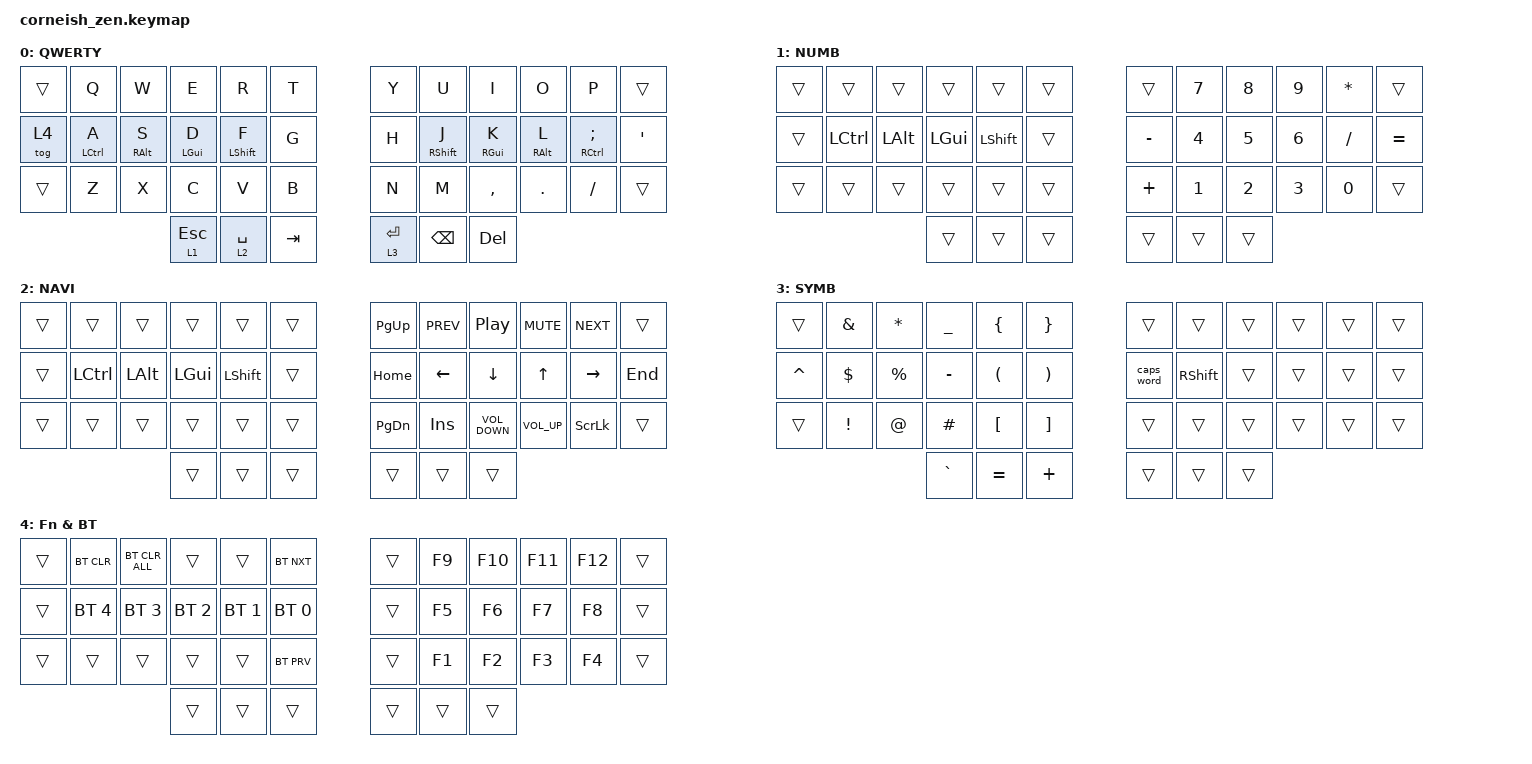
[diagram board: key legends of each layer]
#include <behaviors.dtsi>
#include <dt-bindings/zmk/bt.h>
#include <dt-bindings/zmk/keys.h>

/ {
    chosen {
        zmk,matrix_transform = &default_transform;

        //zmk,matrix_transform = &five_column_transform;
    };
};

/ {
    behaviors {
        hmrw_l: hmrw_l {
            compatible = "zmk,behavior-hold-tap";
            label = "HMRW_L";
            bindings = <&kp>, <&kp>;

            #binding-cells = <2>;
            tapping-term-ms = <170>;
            quick-tap-ms = <100>;
            flavor = "tap-preferred";
            hold-trigger-key-positions = <6 7 8 9 10 11 18 19 20 21 22 23 30 31 32 33 34 35 39 40 41>;
        };

        hmrw_r: hmrw_r {
            compatible = "zmk,behavior-hold-tap";
            label = "HMRW_R";
            bindings = <&kp>, <&kp>;

            #binding-cells = <2>;
            tapping-term-ms = <170>;
            quick-tap-ms = <100>;
            hold-trigger-key-positions = <0 1 2 3 4 5 12 13 14 15 16 17 24 25 26 27 28 29 36 37 38>;
            flavor = "tap-preferred";
        };

        caps_word: caps_word {
            compatible = "zmk,behavior-caps-word";
            label = "CAPS_WORD";
            #binding-cells = <0>;
            continue-list = <A B C D E F G H I J K L M N O P Q R S T U V W X Y Z>;
        };
    };

    keymap {
        compatible = "zmk,keymap";

        base_layer {
            label = "QWERTY";

            // -----------------------------------------------------------------------------------------
            // |  TAB |  Q  |  W  |  E  |  R  |  T  |   |  Y  |  U   |  I  |  O  |  P  | BKSP |
            // | CTRL |  A  |  S  |  D  |  F  |  G  |   |  H  |  J   |  K  |  L  |  ;  |  '   |
            // | SHFT |  Z  |  X  |  C  |  V  |  B  |   |  N  |  M   |  ,  |  .  |  /  | ESC  |
            //                    | GUI | LWR | SPC |   | ENT | RSE  | ALT |

            bindings = <
&trans  &kp Q            &kp W                &kp E           &kp R                 &kp T      &kp Y        &kp U                  &kp I                &kp O                &kp P                    &trans
&tog 4  &hmrw_l LCTRL A  &hmrw_l RIGHT_ALT S  &hmrw_l LGUI D  &hmrw_l LEFT_SHIFT F  &kp G      &kp H        &hmrw_r RIGHT_SHIFT J  &hmrw_r RIGHT_GUI K  &hmrw_r RIGHT_ALT L  &hmrw_r RCTRL SEMICOLON  &kp SINGLE_QUOTE
&trans  &kp Z            &kp X                &kp C           &kp V                 &kp B      &kp N        &kp M                  &kp COMMA            &kp DOT              &kp FSLH                 &trans
                                              &lt 1 ESC       &lt 2 SPACE           &kp TAB    &lt 3 ENTER  &kp BACKSPACE          &kp DELETE
            >;
        };

        num_layer {
            bindings = <
&trans  &trans     &trans        &trans        &trans          &trans    &trans     &kp N7  &kp N8  &kp N9  &kp ASTRK  &trans
&trans  &kp LCTRL  &kp LEFT_ALT  &kp LEFT_GUI  &kp LEFT_SHIFT  &trans    &kp MINUS  &kp N4  &kp N5  &kp N6  &kp FSLH   &kp EQUAL
&trans  &trans     &trans        &trans        &trans          &trans    &kp PLUS   &kp N1  &kp N2  &kp N3  &kp N0     &trans
                                 &trans        &trans          &trans    &trans     &trans  &trans
            >;

            label = "NUMB";
        };

        nav_layer {
            bindings = <
&trans  &trans     &trans    &trans    &trans     &trans    &kp PG_UP  &kp C_PREV  &kp C_PLAY_PAUSE   &kp C_MUTE       &kp C_NEXT      &trans
&trans  &kp LCTRL  &kp LALT  &kp LGUI  &kp LSHFT  &trans    &kp HOME   &kp LEFT    &kp DOWN           &kp UP           &kp RIGHT       &kp END
&trans  &trans     &trans    &trans    &trans     &trans    &kp PG_DN  &kp INS     &kp C_VOLUME_DOWN  &kp C_VOLUME_UP  &kp SCROLLLOCK  &trans
                             &trans    &trans     &trans    &trans     &trans      &trans
            >;

            label = "NAVI";
        };

        sym_layer {
            bindings = <
&trans     &kp AMPS    &kp ASTRK    &kp UNDER  &kp LEFT_BRACE        &kp RIGHT_BRACE          &trans      &trans           &trans  &trans  &trans  &trans
&kp CARET  &kp DOLLAR  &kp PERCENT  &kp MINUS  &kp LEFT_PARENTHESIS  &kp RIGHT_PARENTHESIS    &caps_word  &kp RIGHT_SHIFT  &trans  &trans  &trans  &trans
&trans     &kp EXCL    &kp AT       &kp HASH   &kp LBKT              &kp RBKT                 &trans      &trans           &trans  &trans  &trans  &trans
                                    &kp GRAVE  &kp EQUAL             &kp PLUS                 &trans      &trans           &trans
            >;

            label = "SYMB";
        };

        fnbt_layer {
            bindings = <
&trans  &bt BT_CLR    &bt BT_CLR_ALL  &trans        &trans        &bt BT_NXT      &trans  &kp F9  &kp F10  &kp F11  &kp F12  &trans
&trans  &bt BT_SEL 4  &bt BT_SEL 3    &bt BT_SEL 2  &bt BT_SEL 1  &bt BT_SEL 0    &trans  &kp F5  &kp F6   &kp F7   &kp F8   &trans
&trans  &trans        &trans          &trans        &trans        &bt BT_PRV      &trans  &kp F1  &kp F2   &kp F3   &kp F4   &trans
                                      &trans        &trans        &trans          &trans  &trans  &trans
            >;

            label = "Fn & BT";
        };
    };
};
